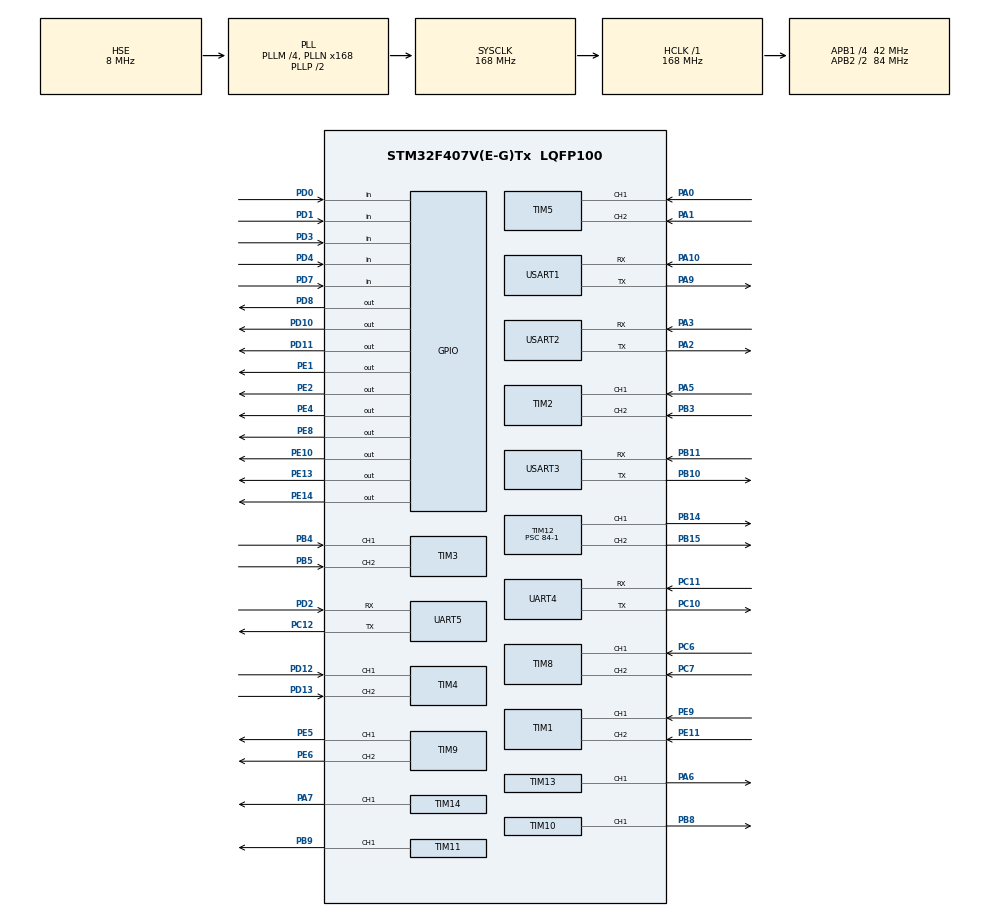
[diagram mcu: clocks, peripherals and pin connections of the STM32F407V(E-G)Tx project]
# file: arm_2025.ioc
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Dma.Request0=USART1_RX
Dma.Request1=USART1_TX
Dma.USART1_RX.0.Direction=DMA_PERIPH_TO_MEMORY
Dma.USART1_RX.0.FIFOMode=DMA_FIFOMODE_DISABLE
Dma.USART1_RX.0.Instance=DMA2_Stream2
Dma.USART1_RX.0.MemDataAlignment=DMA_MDATAALIGN_BYTE
Dma.USART1_RX.0.MemInc=DMA_MINC_ENABLE
Dma.USART1_RX.0.Mode=DMA_NORMAL
Dma.USART1_RX.0.PeriphDataAlignment=DMA_PDATAALIGN_BYTE
Dma.USART1_RX.0.PeriphInc=DMA_PINC_DISABLE
Dma.USART1_RX.0.Priority=DMA_PRIORITY_LOW
Dma.USART1_TX.1.Direction=DMA_MEMORY_TO_PERIPH
Dma.USART1_TX.1.FIFOMode=DMA_FIFOMODE_DISABLE
Dma.USART1_TX.1.Instance=DMA2_Stream7
Dma.USART1_TX.1.MemDataAlignment=DMA_MDATAALIGN_BYTE
Dma.USART1_TX.1.MemInc=DMA_MINC_ENABLE
Dma.USART1_TX.1.Mode=DMA_NORMAL
Dma.USART1_TX.1.PeriphDataAlignment=DMA_PDATAALIGN_BYTE
Dma.USART1_TX.1.PeriphInc=DMA_PINC_DISABLE
Dma.USART1_TX.1.Priority=DMA_PRIORITY_LOW
Mcu.Family=STM32F4
Mcu.Name=STM32F407V(E-G)Tx
Mcu.Package=LQFP100
NVIC.DMA2_Stream2_IRQn=true\:0\:0\:false\:false\:true\:false\:true\:true
NVIC.DMA2_Stream7_IRQn=true\:0\:0\:false\:false\:true\:false\:true\:true
NVIC.PriorityGroup=NVIC_PRIORITYGROUP_4
NVIC.RCC_IRQn=true\:0\:0\:false\:false\:true\:true\:false\:true
NVIC.TIM6_DAC_IRQn=true\:0\:0\:false\:false\:true\:true\:true\:true
NVIC.USART1_IRQn=true\:0\:0\:false\:false\:true\:true\:true\:true
PA0-WKUP.Signal=S_TIM5_CH1
PA1.Signal=S_TIM5_CH2
PA10.Mode=Asynchronous
PA10.Signal=USART1_RX
PA13.Mode=Serial_Wire
PA13.Signal=SYS_JTMS-SWDIO
PA14.Mode=Serial_Wire
PA14.Signal=SYS_JTCK-SWCLK
PA2.Mode=Asynchronous
PA2.Signal=USART2_TX
PA3.Mode=Asynchronous
PA3.Signal=USART2_RX
PA5.Signal=S_TIM2_CH1_ETR
PA6.Signal=S_TIM13_CH1
PA7.Signal=S_TIM14_CH1
PA9.Mode=Asynchronous
PA9.Signal=USART1_TX
PB10.Mode=Asynchronous
PB10.Signal=USART3_TX
PB11.Mode=Asynchronous
PB11.Signal=USART3_RX
PB14.Signal=S_TIM12_CH1
PB15.Signal=S_TIM12_CH2
PB3.Signal=S_TIM2_CH2
PB4.Signal=S_TIM3_CH1
PB5.Signal=S_TIM3_CH2
PB8.Signal=S_TIM10_CH1
PB9.Signal=S_TIM11_CH1
PC10.Mode=Asynchronous
PC10.Signal=UART4_TX
PC11.Mode=Asynchronous
PC11.Signal=UART4_RX
PC12.Mode=Asynchronous
PC12.Signal=UART5_TX
PC6.Signal=S_TIM8_CH1
PC7.Signal=S_TIM8_CH2
PD0.GPIO_PuPd=GPIO_PULLUP
PD0.Signal=GPIO_Input
PD1.GPIO_PuPd=GPIO_PULLUP
PD1.Signal=GPIO_Input
PD10.Signal=GPIO_Output
PD11.Signal=GPIO_Output
PD12.Signal=S_TIM4_CH1
PD13.Signal=S_TIM4_CH2
PD2.Mode=Asynchronous
PD2.Signal=UART5_RX
PD3.GPIO_PuPd=GPIO_PULLUP
PD3.Signal=GPIO_Input
PD4.GPIO_PuPd=GPIO_PULLUP
PD4.Signal=GPIO_Input
PD7.GPIO_PuPd=GPIO_PULLUP
PD7.Signal=GPIO_Input
PD8.Signal=GPIO_Output
PE1.Signal=GPIO_Output
PE10.Signal=GPIO_Output
PE11.Signal=S_TIM1_CH2
PE13.Signal=GPIO_Output
PE14.Signal=GPIO_Output
PE2.Signal=GPIO_Output
PE4.Signal=GPIO_Output
PE5.Signal=S_TIM9_CH1
PE6.Signal=S_TIM9_CH2
PE8.Signal=GPIO_Output
PE9.Signal=S_TIM1_CH1
PH0-OSC_IN.Mode=HSE-External-Oscillator
PH0-OSC_IN.Signal=RCC_OSC_IN
PH1-OSC_OUT.Mode=HSE-External-Oscillator
PH1-OSC_OUT.Signal=RCC_OSC_OUT
ProjectManager.HeapSize=0x200
ProjectManager.StackSize=0x400
ProjectManager.TargetToolchain=STM32CubeIDE
RCC.48MHZClocksFreq_Value=84000000
RCC.AHBFreq_Value=168000000
RCC.APB1CLKDivider=RCC_HCLK_DIV4
RCC.APB1Freq_Value=42000000
RCC.APB1TimFreq_Value=84000000
RCC.APB2CLKDivider=RCC_HCLK_DIV2
RCC.APB2Freq_Value=84000000
RCC.APB2TimFreq_Value=168000000
RCC.CortexFreq_Value=168000000
RCC.HCLKFreq_Value=168000000
RCC.HSE_VALUE=8000000
RCC.HSI_VALUE=16000000
RCC.LSE_VALUE=32768
RCC.PLLM=4
RCC.PLLN=168
RCC.PLLSourceVirtual=RCC_PLLSOURCE_HSE
RCC.SYSCLKFreq_VALUE=168000000
RCC.SYSCLKSource=RCC_SYSCLKSOURCE_PLLCLK
RCC.VCOOutputFreq_Value=336000000
SH.S_TIM10_CH1.0=TIM10_CH1,PWM Generation1 CH1
SH.S_TIM11_CH1.0=TIM11_CH1,PWM Generation1 CH1
SH.S_TIM12_CH1.0=TIM12_CH1,PWM Generation1 CH1
SH.S_TIM12_CH2.0=TIM12_CH2,PWM Generation2 CH2
SH.S_TIM13_CH1.0=TIM13_CH1,PWM Generation1 CH1
SH.S_TIM14_CH1.0=TIM14_CH1,PWM Generation1 CH1
SH.S_TIM1_CH1.0=TIM1_CH1,Encoder_Interface
SH.S_TIM1_CH2.0=TIM1_CH2,Encoder_Interface
SH.S_TIM2_CH1_ETR.0=TIM2_CH1,Encoder_Interface
SH.S_TIM2_CH2.0=TIM2_CH2,Encoder_Interface
SH.S_TIM3_CH1.0=TIM3_CH1,Encoder_Interface
SH.S_TIM3_CH2.0=TIM3_CH2,Encoder_Interface
SH.S_TIM4_CH1.0=TIM4_CH1,Encoder_Interface
SH.S_TIM4_CH2.0=TIM4_CH2,Encoder_Interface
SH.S_TIM5_CH1.0=TIM5_CH1,Encoder_Interface
SH.S_TIM5_CH2.0=TIM5_CH2,Encoder_Interface
SH.S_TIM8_CH1.0=TIM8_CH1,Encoder_Interface
SH.S_TIM8_CH2.0=TIM8_CH2,Encoder_Interface
SH.S_TIM9_CH1.0=TIM9_CH1,PWM Generation1 CH1
SH.S_TIM9_CH2.0=TIM9_CH2,PWM Generation2 CH2
TIM10.Channel=TIM_CHANNEL_1
TIM11.Channel=TIM_CHANNEL_1
TIM12.Channel-PWM\ Generation1\ CH1=TIM_CHANNEL_1
TIM12.Channel-PWM\ Generation2\ CH2=TIM_CHANNEL_2
TIM12.Period=1000-1
TIM12.Prescaler=84-1
TIM13.Channel=TIM_CHANNEL_1
TIM13.Period=1000-1
TIM13.Prescaler=84-1
TIM14.Channel=TIM_CHANNEL_1
TIM14.Period=1000-1
TIM14.Prescaler=84-1
TIM6.Period=1000-1
TIM6.Prescaler=84-1
TIM9.Channel-PWM\ Generation1\ CH1=TIM_CHANNEL_1
TIM9.Channel-PWM\ Generation2\ CH2=TIM_CHANNEL_2
UART4.VirtualMode=Asynchronous
UART5.VirtualMode=Asynchronous
USART1.VirtualMode=VM_ASYNC
USART2.VirtualMode=VM_ASYNC
USART3.VirtualMode=VM_ASYNC
VP_TIM10_VS_ClockSourceINT.Mode=Enable_Timer
VP_TIM11_VS_ClockSourceINT.Mode=Enable_Timer
VP_TIM13_VS_ClockSourceINT.Mode=Enable_Timer
VP_TIM14_VS_ClockSourceINT.Mode=Enable_Timer
VP_TIM6_VS_ClockSourceINT.Mode=Enable_Timer
board=custom

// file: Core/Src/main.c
/* USER CODE BEGIN Header */
/**
  ******************************************************************************
  * @file           : main.c
  * @brief          : Main program body
  ******************************************************************************
  * @attention
  *
  * Copyright (c) 2025 STMicroelectronics.
  * All rights reserved.
  *
  * This software is licensed under terms that can be found in the LICENSE file
  * in the root directory of this software component.
  * If no LICENSE file comes with this software, it is provided AS-IS.
  *
  ******************************************************************************
  */
/* USER CODE END Header */
#include "main.h"

/* USER CODE BEGIN Includes */
#include <stdio.h>
#include <stdlib.h>
#include <string.h>
#include <math.h>

#include "pid.h"
/* USER CODE END Includes */

TIM_HandleTypeDef htim1;
TIM_HandleTypeDef htim2;
TIM_HandleTypeDef htim3;
TIM_HandleTypeDef htim4;
TIM_HandleTypeDef htim5;
TIM_HandleTypeDef htim6;
TIM_HandleTypeDef htim8;
TIM_HandleTypeDef htim9;
TIM_HandleTypeDef htim10;
TIM_HandleTypeDef htim11;
TIM_HandleTypeDef htim12;
TIM_HandleTypeDef htim13;
TIM_HandleTypeDef htim14;

UART_HandleTypeDef huart4;
UART_HandleTypeDef huart5;
UART_HandleTypeDef huart1;
UART_HandleTypeDef huart2;
UART_HandleTypeDef huart3;
DMA_HandleTypeDef hdma_usart1_rx;
DMA_HandleTypeDef hdma_usart1_tx;

void SystemClock_Config(void);
static void MX_GPIO_Init(void);
static void MX_DMA_Init(void);
static void MX_TIM1_Init(void);
static void MX_TIM2_Init(void);
static void MX_TIM3_Init(void);
static void MX_TIM4_Init(void);
static void MX_TIM5_Init(void);
static void MX_TIM8_Init(void);
static void MX_TIM9_Init(void);
static void MX_TIM10_Init(void);
static void MX_TIM11_Init(void);
static void MX_TIM12_Init(void);
static void MX_TIM13_Init(void);
static void MX_TIM14_Init(void);
static void MX_UART4_Init(void);
static void MX_UART5_Init(void);
static void MX_USART1_UART_Init(void);
static void MX_USART2_UART_Init(void);
static void MX_USART3_UART_Init(void);
static void MX_TIM6_Init(void);

/* USER CODE BEGIN 0 */
#define MAX_HORIZONTAL_HOME_SPEED 	-350
#define MAX_VERTICAL_HOME_SPEED 	-100

#define MAX_VERTICAL_PULSE 			2592
#define MAX_HORIZONTAL_PULSE		2250
#define MAX_ROTATION_PULSE			1840

#define MAX_VERTICAL_PID_SPEED		999
#define MAX_HORIZONTAL_PID_SPEED	999
#define MAX_ROTATION_PID_SPEED		999

int16_t rst_cnt = 0;
uint8_t rst_state = 0;

int16_t TIM6_CNT_MS = 0;
int16_t enc1_cnt = 0;
int16_t enc2_cnt = 0;
int16_t enc3_cnt = 0;
int16_t enc4_cnt = 0;
int16_t enc5_cnt = 0;
int16_t enc6_cnt = 0;

uint8_t arm_state = 0;
uint8_t arm_pos = 0;
uint16_t arm_cnt_ms = 0;

PID_t pid_rotation = {0};
PID_t pid_horizontal = {0};
PID_t pid_vertical = {0};

char UART1_RX_BUFFER[53];
uint8_t robot_start = 0;
uint8_t robot_reset = 0;
uint8_t relay_state = 1; //--- 1 is OFF, 0 is ON
int16_t setpoint_rotation = 0;
int16_t setpoint_horizontal = 0;
int16_t setpoint_vertical = 0;

char UART1_TX_BUFFER[53] = "ABC";
//--- PULL UP
uint8_t LIM_SW2_STAT = 1;
uint8_t LIM_SW3_STAT = 1;
uint8_t button1_state = 1, button2_state = 1;

void setMotor(uint8_t motor, int16_t speed)
{
	uint8_t dir_a = (speed >= 0);
	uint8_t dir_b = (speed < 0);
	speed = abs(speed);

	switch(motor)
	{
		case 1:
			HAL_GPIO_WritePin(GPIOE, GPIO_PIN_10, dir_a);
			HAL_GPIO_WritePin(GPIOE, GPIO_PIN_8 , dir_b);
			TIM13 -> CCR1 = speed;
			break;
		case 2:
			HAL_GPIO_WritePin(GPIOD, GPIO_PIN_11, dir_a);
			HAL_GPIO_WritePin(GPIOE, GPIO_PIN_14, dir_b);
			TIM12 -> CCR2 = speed;
			break;
		case 3:
			HAL_GPIO_WritePin(GPIOD, GPIO_PIN_10, dir_a);
			HAL_GPIO_WritePin(GPIOD, GPIO_PIN_8 , dir_b);
			TIM12 -> CCR1 = speed;
			break;
		case 4:
			HAL_GPIO_WritePin(GPIOE, GPIO_PIN_2 , dir_a);
			HAL_GPIO_WritePin(GPIOE, GPIO_PIN_4 , dir_b);
			TIM14 -> CCR1 = speed;
			break;
		default:
			break;
	}
}

uint8_t arm_init()
{
	if(LIM_SW2_STAT == 1)
	{
		setMotor(2, MAX_HORIZONTAL_HOME_SPEED); //--- go back
	}
	else
	{
		setMotor(2, 0);
	}

	if(LIM_SW2_STAT == 0 && LIM_SW3_STAT == 1)
	{
		setMotor(3, MAX_VERTICAL_HOME_SPEED); //--- go down
	}
	else
	{
		setMotor(3, 0);
	}

	if(LIM_SW2_STAT == 0 && LIM_SW3_STAT == 0)
	{
		return 1; //--- Homing Success
	}
	else
	{
		return 0; //--- Homing Failed
	}
}

void transmit_uart()
{
	memcpy(UART1_TX_BUFFER + 3, &button1_state, 1);
	memcpy(UART1_TX_BUFFER + 4, &button2_state, 1);
	memcpy(UART1_TX_BUFFER + 5, &LIM_SW2_STAT, 1);
	memcpy(UART1_TX_BUFFER + 6, &LIM_SW3_STAT, 1);
	memcpy(UART1_TX_BUFFER + 7, &enc1_cnt, 2);
	memcpy(UART1_TX_BUFFER + 9, &enc2_cnt, 2);
	memcpy(UART1_TX_BUFFER + 11, &enc3_cnt, 2);

	HAL_UART_Transmit_DMA(&huart1, (uint8_t*)UART1_TX_BUFFER, sizeof(UART1_TX_BUFFER));
}

void led_blink()
{
	static uint16_t timer = 0;
	static uint8_t state = 0;

	if(timer >= 99)
	{
		state = !(state);
		HAL_GPIO_WritePin(GPIOE, GPIO_PIN_1, state);
		timer = 0;
	}

	timer++;
}

void read_limit_switch()
{
	LIM_SW2_STAT = HAL_GPIO_ReadPin(GPIOD, GPIO_PIN_1);
	LIM_SW3_STAT = HAL_GPIO_ReadPin(GPIOD, GPIO_PIN_3);
}

void read_button()
{
	button1_state = HAL_GPIO_ReadPin(GPIOD, GPIO_PIN_4);
	button2_state = HAL_GPIO_ReadPin(GPIOD, GPIO_PIN_7);
}

void write_relay(uint8_t state)
{
	if(state == 0) //--- ON STATE
	{
		HAL_GPIO_WritePin(GPIOE, GPIO_PIN_13, 1);
	}
	else //--- OFF STATE
	{
		HAL_GPIO_WritePin(GPIOE, GPIO_PIN_13, 0);
	}
}

void arm_state_machine()
{
	switch(arm_state)
	{
		case 0: //--- Arm homing position
			if(arm_init())
			{
				arm_state++;
			}
			break;

		case 1: //--- Wait for motors to settle, then reset encoders
			if(arm_cnt_ms >= 1250)
			{

			  TIM1 -> CNT = TIM2 -> CNT = TIM3 -> CNT = 0;
			  arm_state++;
			}
			arm_cnt_ms++;

			break;

		case 2: //--- Main PID speed loop (every 10 ms)
			if(arm_cnt_ms >= 9)
			{
				enc1_cnt = -TIM1 -> CNT;
				enc2_cnt = -TIM2 -> CNT;
				enc3_cnt = -TIM3 -> CNT;

				TIM1 -> CNT = TIM2 -> CNT = TIM3 -> CNT = 0;

				PID_Update(&pid_rotation, setpoint_rotation, enc1_cnt, MAX_ROTATION_PID_SPEED);
				PID_Update(&pid_horizontal, setpoint_horizontal, enc2_cnt, MAX_HORIZONTAL_PID_SPEED);
				PID_Update(&pid_vertical, setpoint_vertical, enc3_cnt, MAX_VERTICAL_PID_SPEED);

				setMotor(1, (int16_t)pid_rotation.output);
				setMotor(2, (int16_t)pid_horizontal.output);
				setMotor(3, (int16_t)pid_vertical.output);

				arm_cnt_ms = 0;
			}
			arm_cnt_ms++;

			break;

		default:
			break;
	}
}

void HAL_TIM_PeriodElapsedCallback(TIM_HandleTypeDef *htim)
{
	if(htim == &htim6)
	{
		if(rst_state)
		{
			if(rst_cnt >= 500)
			{
				NVIC_SystemReset();
			}
			else
			{
				rst_cnt++;
			}
		}

		led_blink();

		transmit_uart();

		read_limit_switch();

		read_button();

		write_relay(relay_state);

		arm_state_machine();
	}
}

void HAL_UART_RxCpltCallback(UART_HandleTypeDef *huart)
{
	if(huart == &huart1) //--- VGT BASE
	{
		if(UART1_RX_BUFFER[0] == 'A' && UART1_RX_BUFFER[1] == 'B' && UART1_RX_BUFFER[2] == 'C')
		{
			memcpy(&robot_start, UART1_RX_BUFFER + 3, 1);
			memcpy(&robot_reset, UART1_RX_BUFFER + 4, 1);
			memcpy(&relay_state, UART1_RX_BUFFER + 5, 1);
			memcpy(&setpoint_rotation, UART1_RX_BUFFER + 6, 2);
			memcpy(&setpoint_horizontal, UART1_RX_BUFFER + 8, 2);
			memcpy(&setpoint_vertical, UART1_RX_BUFFER + 10, 2);

			if(robot_reset == 1)
			{
				rst_state = 1;
			}
		}
		HAL_UART_Receive_DMA(&huart1, (uint8_t*)UART1_RX_BUFFER, sizeof(UART1_RX_BUFFER));
	}
}

void HAL_UART_RxHalfCpltCallback(UART_HandleTypeDef *huart)
{
	if(huart == &huart1) //--- VGT BASE
	{
		if(!(UART1_RX_BUFFER[0] == 'A' && UART1_RX_BUFFER[1] == 'B' && UART1_RX_BUFFER[2] == 'C'))
		{
			HAL_UART_AbortReceive(&huart1);
			HAL_UART_Receive_DMA(&huart1, (uint8_t*)UART1_RX_BUFFER, sizeof(UART1_RX_BUFFER));
		}
	}

}

void HAL_UART_ErrorCallback(UART_HandleTypeDef *huart)
{
	if(huart == &huart1) //--- VGT BASE
	{
		HAL_UART_AbortReceive(&huart1);
		HAL_UART_Receive_DMA(&huart1, (uint8_t*)UART1_RX_BUFFER, sizeof(UART1_RX_BUFFER));
	}
}

/* USER CODE END 0 */

int main(void)
{

  /* MCU Configuration--------------------------------------------------------*/

  /* Reset of all peripherals, Initializes the Flash interface and the Systick. */
  HAL_Init();

  /* Configure the system clock */
  SystemClock_Config();

  /* Initialize all configured peripherals */
  MX_GPIO_Init();
  MX_DMA_Init();
  MX_TIM1_Init();
  MX_TIM2_Init();
  MX_TIM3_Init();
  MX_TIM4_Init();
  MX_TIM5_Init();
  MX_TIM8_Init();
  MX_TIM9_Init();
  MX_TIM10_Init();
  MX_TIM11_Init();
  MX_TIM12_Init();
  MX_TIM13_Init();
  MX_TIM14_Init();
  MX_UART4_Init();
  MX_UART5_Init();
  MX_USART1_UART_Init();
  MX_USART2_UART_Init();
  MX_USART3_UART_Init();
  MX_TIM6_Init();
  /* USER CODE BEGIN 2 */
  HAL_TIM_Encoder_Start(&htim1, TIM_CHANNEL_ALL);
  HAL_TIM_Encoder_Start(&htim2, TIM_CHANNEL_ALL);
  HAL_TIM_Encoder_Start(&htim3, TIM_CHANNEL_ALL);
  HAL_TIM_Encoder_Start(&htim4, TIM_CHANNEL_ALL);
  HAL_TIM_Encoder_Start(&htim5, TIM_CHANNEL_ALL);
  HAL_TIM_Encoder_Start(&htim8, TIM_CHANNEL_ALL);

  HAL_TIM_PWM_Start(&htim12, TIM_CHANNEL_1);
  HAL_TIM_PWM_Start(&htim12, TIM_CHANNEL_2);
  HAL_TIM_PWM_Start(&htim13, TIM_CHANNEL_1);
  HAL_TIM_PWM_Start(&htim14, TIM_CHANNEL_1);

  float kp = 40, ki = 3, kd = 0;

  PID_Init(&pid_rotation, kp, ki, kd);
  PID_Init(&pid_horizontal, kp, ki, kd);
  PID_Init(&pid_vertical, kp, ki, kd);

  HAL_UART_Receive_DMA(&huart1, (uint8_t*)UART1_RX_BUFFER, sizeof(UART1_RX_BUFFER));

  HAL_TIM_Base_Start_IT(&htim6);
  /* USER CODE END 2 */

  /* Infinite loop */
  while (1)
  {

  }
}

void SystemClock_Config(void)
{
  RCC_OscInitTypeDef RCC_OscInitStruct = {0};
  RCC_ClkInitTypeDef RCC_ClkInitStruct = {0};

  /** Configure the main internal regulator output voltage
  */
  __HAL_RCC_PWR_CLK_ENABLE();
  __HAL_PWR_VOLTAGESCALING_CONFIG(PWR_REGULATOR_VOLTAGE_SCALE1);

  /** Initializes the RCC Oscillators according to the specified parameters
  * in the RCC_OscInitTypeDef structure.
  */
  RCC_OscInitStruct.OscillatorType = RCC_OSCILLATORTYPE_HSE;
  RCC_OscInitStruct.HSEState = RCC_HSE_ON;
  RCC_OscInitStruct.PLL.PLLState = RCC_PLL_ON;
  RCC_OscInitStruct.PLL.PLLSource = RCC_PLLSOURCE_HSE;
  RCC_OscInitStruct.PLL.PLLM = 4;
  RCC_OscInitStruct.PLL.PLLN = 168;
  RCC_OscInitStruct.PLL.PLLP = RCC_PLLP_DIV2;
  RCC_OscInitStruct.PLL.PLLQ = 4;
  if (HAL_RCC_OscConfig(&RCC_OscInitStruct) != HAL_OK)
  {
    Error_Handler();
  }

  /** Initializes the CPU, AHB and APB buses clocks
  */
  RCC_ClkInitStruct.ClockType = RCC_CLOCKTYPE_HCLK|RCC_CLOCKTYPE_SYSCLK
                              |RCC_CLOCKTYPE_PCLK1|RCC_CLOCKTYPE_PCLK2;
  RCC_ClkInitStruct.SYSCLKSource = RCC_SYSCLKSOURCE_PLLCLK;
  RCC_ClkInitStruct.AHBCLKDivider = RCC_SYSCLK_DIV1;
  RCC_ClkInitStruct.APB1CLKDivider = RCC_HCLK_DIV4;
  RCC_ClkInitStruct.APB2CLKDivider = RCC_HCLK_DIV2;

  if (HAL_RCC_ClockConfig(&RCC_ClkInitStruct, FLASH_LATENCY_5) != HAL_OK)
  {
    Error_Handler();
  }
}

static void MX_TIM1_Init(void)
{

  TIM_Encoder_InitTypeDef sConfig = {0};
  TIM_MasterConfigTypeDef sMasterConfig = {0};

  htim1.Instance = TIM1;
  htim1.Init.Prescaler = 0;
  htim1.Init.CounterMode = TIM_COUNTERMODE_UP;
  htim1.Init.Period = 65535;
  htim1.Init.ClockDivision = TIM_CLOCKDIVISION_DIV1;
  htim1.Init.RepetitionCounter = 0;
  htim1.Init.AutoReloadPreload = TIM_AUTORELOAD_PRELOAD_DISABLE;
  sConfig.EncoderMode = TIM_ENCODERMODE_TI1;
  sConfig.IC1Polarity = TIM_ICPOLARITY_RISING;
  sConfig.IC1Selection = TIM_ICSELECTION_DIRECTTI;
  sConfig.IC1Prescaler = TIM_ICPSC_DIV1;
  sConfig.IC1Filter = 0;
  sConfig.IC2Polarity = TIM_ICPOLARITY_RISING;
  sConfig.IC2Selection = TIM_ICSELECTION_DIRECTTI;
  sConfig.IC2Prescaler = TIM_ICPSC_DIV1;
  sConfig.IC2Filter = 0;
  if (HAL_TIM_Encoder_Init(&htim1, &sConfig) != HAL_OK)
  {
    Error_Handler();
  }
  sMasterConfig.MasterOutputTrigger = TIM_TRGO_RESET;
  sMasterConfig.MasterSlaveMode = TIM_MASTERSLAVEMODE_DISABLE;
  if (HAL_TIMEx_MasterConfigSynchronization(&htim1, &sMasterConfig) != HAL_OK)
  {
    Error_Handler();
  }

}

static void MX_TIM2_Init(void)
{

  TIM_Encoder_InitTypeDef sConfig = {0};
  TIM_MasterConfigTypeDef sMasterConfig = {0};

  htim2.Instance = TIM2;
  htim2.Init.Prescaler = 0;
  htim2.Init.CounterMode = TIM_COUNTERMODE_UP;
  htim2.Init.Period = 4294967295;
  htim2.Init.ClockDivision = TIM_CLOCKDIVISION_DIV1;
  htim2.Init.AutoReloadPreload = TIM_AUTORELOAD_PRELOAD_DISABLE;
  sConfig.EncoderMode = TIM_ENCODERMODE_TI1;
  sConfig.IC1Polarity = TIM_ICPOLARITY_RISING;
  sConfig.IC1Selection = TIM_ICSELECTION_DIRECTTI;
  sConfig.IC1Prescaler = TIM_ICPSC_DIV1;
  sConfig.IC1Filter = 0;
  sConfig.IC2Polarity = TIM_ICPOLARITY_RISING;
  sConfig.IC2Selection = TIM_ICSELECTION_DIRECTTI;
  sConfig.IC2Prescaler = TIM_ICPSC_DIV1;
  sConfig.IC2Filter = 0;
  if (HAL_TIM_Encoder_Init(&htim2, &sConfig) != HAL_OK)
  {
    Error_Handler();
  }
  sMasterConfig.MasterOutputTrigger = TIM_TRGO_RESET;
  sMasterConfig.MasterSlaveMode = TIM_MASTERSLAVEMODE_DISABLE;
  if (HAL_TIMEx_MasterConfigSynchronization(&htim2, &sMasterConfig) != HAL_OK)
  {
    Error_Handler();
  }

}

static void MX_TIM3_Init(void)
{

  TIM_Encoder_InitTypeDef sConfig = {0};
  TIM_MasterConfigTypeDef sMasterConfig = {0};

  htim3.Instance = TIM3;
  htim3.Init.Prescaler = 0;
  htim3.Init.CounterMode = TIM_COUNTERMODE_UP;
  htim3.Init.Period = 65535;
  htim3.Init.ClockDivision = TIM_CLOCKDIVISION_DIV1;
  htim3.Init.AutoReloadPreload = TIM_AUTORELOAD_PRELOAD_DISABLE;
  sConfig.EncoderMode = TIM_ENCODERMODE_TI1;
  sConfig.IC1Polarity = TIM_ICPOLARITY_RISING;
  sConfig.IC1Selection = TIM_ICSELECTION_DIRECTTI;
  sConfig.IC1Prescaler = TIM_ICPSC_DIV1;
  sConfig.IC1Filter = 0;
  sConfig.IC2Polarity = TIM_ICPOLARITY_RISING;
  sConfig.IC2Selection = TIM_ICSELECTION_DIRECTTI;
  sConfig.IC2Prescaler = TIM_ICPSC_DIV1;
  sConfig.IC2Filter = 0;
  if (HAL_TIM_Encoder_Init(&htim3, &sConfig) != HAL_OK)
  {
    Error_Handler();
  }
  sMasterConfig.MasterOutputTrigger = TIM_TRGO_RESET;
  sMasterConfig.MasterSlaveMode = TIM_MASTERSLAVEMODE_DISABLE;
  if (HAL_TIMEx_MasterConfigSynchronization(&htim3, &sMasterConfig) != HAL_OK)
  {
    Error_Handler();
  }

}

static void MX_TIM4_Init(void)
{

  TIM_Encoder_InitTypeDef sConfig = {0};
  TIM_MasterConfigTypeDef sMasterConfig = {0};

  htim4.Instance = TIM4;
  htim4.Init.Prescaler = 0;
  htim4.Init.CounterMode = TIM_COUNTERMODE_UP;
  htim4.Init.Period = 65535;
  htim4.Init.ClockDivision = TIM_CLOCKDIVISION_DIV1;
  htim4.Init.AutoReloadPreload = TIM_AUTORELOAD_PRELOAD_DISABLE;
  sConfig.EncoderMode = TIM_ENCODERMODE_TI1;
  sConfig.IC1Polarity = TIM_ICPOLARITY_RISING;
  sConfig.IC1Selection = TIM_ICSELECTION_DIRECTTI;
  sConfig.IC1Prescaler = TIM_ICPSC_DIV1;
  sConfig.IC1Filter = 0;
  sConfig.IC2Polarity = TIM_ICPOLARITY_RISING;
  sConfig.IC2Selection = TIM_ICSELECTION_DIRECTTI;
  sConfig.IC2Prescaler = TIM_ICPSC_DIV1;
  sConfig.IC2Filter = 0;
  if (HAL_TIM_Encoder_Init(&htim4, &sConfig) != HAL_OK)
  {
    Error_Handler();
  }
  sMasterConfig.MasterOutputTrigger = TIM_TRGO_RESET;
  sMasterConfig.MasterSlaveMode = TIM_MASTERSLAVEMODE_DISABLE;
  if (HAL_TIMEx_MasterConfigSynchronization(&htim4, &sMasterConfig) != HAL_OK)
  {
    Error_Handler();
  }

}

static void MX_TIM5_Init(void)
{

  TIM_Encoder_InitTypeDef sConfig = {0};
  TIM_MasterConfigTypeDef sMasterConfig = {0};

  htim5.Instance = TIM5;
  htim5.Init.Prescaler = 0;
  htim5.Init.CounterMode = TIM_COUNTERMODE_UP;
  htim5.Init.Period = 4294967295;
  htim5.Init.ClockDivision = TIM_CLOCKDIVISION_DIV1;
  htim5.Init.AutoReloadPreload = TIM_AUTORELOAD_PRELOAD_DISABLE;
  sConfig.EncoderMode = TIM_ENCODERMODE_TI1;
  sConfig.IC1Polarity = TIM_ICPOLARITY_RISING;
  sConfig.IC1Selection = TIM_ICSELECTION_DIRECTTI;
  sConfig.IC1Prescaler = TIM_ICPSC_DIV1;
  sConfig.IC1Filter = 0;
  sConfig.IC2Polarity = TIM_ICPOLARITY_RISING;
  sConfig.IC2Selection = TIM_ICSELECTION_DIRECTTI;
  sConfig.IC2Prescaler = TIM_ICPSC_DIV1;
  sConfig.IC2Filter = 0;
  if (HAL_TIM_Encoder_Init(&htim5, &sConfig) != HAL_OK)
  {
    Error_Handler();
  }
  sMasterConfig.MasterOutputTrigger = TIM_TRGO_RESET;
  sMasterConfig.MasterSlaveMode = TIM_MASTERSLAVEMODE_DISABLE;
  if (HAL_TIMEx_MasterConfigSynchronization(&htim5, &sMasterConfig) != HAL_OK)
  {
    Error_Handler();
  }

}

static void MX_TIM6_Init(void)
{

  TIM_MasterConfigTypeDef sMasterConfig = {0};

  htim6.Instance = TIM6;
  htim6.Init.Prescaler = 84-1;
  htim6.Init.CounterMode = TIM_COUNTERMODE_UP;
  htim6.Init.Period = 1000-1;
  htim6.Init.AutoReloadPreload = TIM_AUTORELOAD_PRELOAD_DISABLE;
  if (HAL_TIM_Base_Init(&htim6) != HAL_OK)
  {
    Error_Handler();
  }
  sMasterConfig.MasterOutputTrigger = TIM_TRGO_RESET;
  sMasterConfig.MasterSlaveMode = TIM_MASTERSLAVEMODE_DISABLE;
  if (HAL_TIMEx_MasterConfigSynchronization(&htim6, &sMasterConfig) != HAL_OK)
  {
    Error_Handler();
  }

}

static void MX_TIM8_Init(void)
{

  TIM_Encoder_InitTypeDef sConfig = {0};
  TIM_MasterConfigTypeDef sMasterConfig = {0};

  htim8.Instance = TIM8;
  htim8.Init.Prescaler = 0;
  htim8.Init.CounterMode = TIM_COUNTERMODE_UP;
  htim8.Init.Period = 65535;
  htim8.Init.ClockDivision = TIM_CLOCKDIVISION_DIV1;
  htim8.Init.RepetitionCounter = 0;
  htim8.Init.AutoReloadPreload = TIM_AUTORELOAD_PRELOAD_DISABLE;
  sConfig.EncoderMode = TIM_ENCODERMODE_TI1;
  sConfig.IC1Polarity = TIM_ICPOLARITY_RISING;
  sConfig.IC1Selection = TIM_ICSELECTION_DIRECTTI;
  sConfig.IC1Prescaler = TIM_ICPSC_DIV1;
  sConfig.IC1Filter = 0;
  sConfig.IC2Polarity = TIM_ICPOLARITY_RISING;
  sConfig.IC2Selection = TIM_ICSELECTION_DIRECTTI;
  sConfig.IC2Prescaler = TIM_ICPSC_DIV1;
  sConfig.IC2Filter = 0;
  if (HAL_TIM_Encoder_Init(&htim8, &sConfig) != HAL_OK)
  {
    Error_Handler();
  }
  sMasterConfig.MasterOutputTrigger = TIM_TRGO_RESET;
  sMasterConfig.MasterSlaveMode = TIM_MASTERSLAVEMODE_DISABLE;
  if (HAL_TIMEx_MasterConfigSynchronization(&htim8, &sMasterConfig) != HAL_OK)
  {
    Error_Handler();
  }

}

static void MX_TIM9_Init(void)
{

  TIM_OC_InitTypeDef sConfigOC = {0};

  htim9.Instance = TIM9;
  htim9.Init.Prescaler = 0;
  htim9.Init.CounterMode = TIM_COUNTERMODE_UP;
  htim9.Init.Period = 65535;
  htim9.Init.ClockDivision = TIM_CLOCKDIVISION_DIV1;
  htim9.Init.AutoReloadPreload = TIM_AUTORELOAD_PRELOAD_DISABLE;
  if (HAL_TIM_PWM_Init(&htim9) != HAL_OK)
  {
    Error_Handler();
  }
  sConfigOC.OCMode = TIM_OCMODE_PWM1;
  sConfigOC.Pulse = 0;
  sConfigOC.OCPolarity = TIM_OCPOLARITY_HIGH;
  sConfigOC.OCFastMode = TIM_OCFAST_DISABLE;
  if (HAL_TIM_PWM_ConfigChannel(&htim9, &sConfigOC, TIM_CHANNEL_1) != HAL_OK)
  {
    Error_Handler();
  }
  if (HAL_TIM_PWM_ConfigChannel(&htim9, &sConfigOC, TIM_CHANNEL_2) != HAL_OK)
  {
    Error_Handler();
  }
  HAL_TIM_MspPostInit(&htim9);

}

static void MX_TIM10_Init(void)
{

  TIM_OC_InitTypeDef sConfigOC = {0};

  htim10.Instance = TIM10;
  htim10.Init.Prescaler = 0;
  htim10.Init.CounterMode = TIM_COUNTERMODE_UP;
  htim10.Init.Period = 65535;
  htim10.Init.ClockDivision = TIM_CLOCKDIVISION_DIV1;
  htim10.Init.AutoReloadPreload = TIM_AUTORELOAD_PRELOAD_DISABLE;
  if (HAL_TIM_Base_Init(&htim10) != HAL_OK)
  {
    Error_Handler();
  }
  if (HAL_TIM_PWM_Init(&htim10) != HAL_OK)
  {
    Error_Handler();
  }
  sConfigOC.OCMode = TIM_OCMODE_PWM1;
  sConfigOC.Pulse = 0;
  sConfigOC.OCPolarity = TIM_OCPOLARITY_HIGH;
  sConfigOC.OCFastMode = TIM_OCFAST_DISABLE;
  if (HAL_TIM_PWM_ConfigChannel(&htim10, &sConfigOC, TIM_CHANNEL_1) != HAL_OK)
  {
    Error_Handler();
  }
  HAL_TIM_MspPostInit(&htim10);

}

static void MX_TIM11_Init(void)
{

  TIM_OC_InitTypeDef sConfigOC = {0};

  htim11.Instance = TIM11;
  htim11.Init.Prescaler = 0;
  htim11.Init.CounterMode = TIM_COUNTERMODE_UP;
  htim11.Init.Period = 65535;
  htim11.Init.ClockDivision = TIM_CLOCKDIVISION_DIV1;
  htim11.Init.AutoReloadPreload = TIM_AUTORELOAD_PRELOAD_DISABLE;
  if (HAL_TIM_Base_Init(&htim11) != HAL_OK)
  {
    Error_Handler();
  }
  if (HAL_TIM_PWM_Init(&htim11) != HAL_OK)
  {
    Error_Handler();
  }
  sConfigOC.OCMode = TIM_OCMODE_PWM1;
  sConfigOC.Pulse = 0;
  sConfigOC.OCPolarity = TIM_OCPOLARITY_HIGH;
  sConfigOC.OCFastMode = TIM_OCFAST_DISABLE;
  if (HAL_TIM_PWM_ConfigChannel(&htim11, &sConfigOC, TIM_CHANNEL_1) != HAL_OK)
  {
    Error_Handler();
  }
  HAL_TIM_MspPostInit(&htim11);

}

static void MX_TIM12_Init(void)
{

  TIM_OC_InitTypeDef sConfigOC = {0};

  htim12.Instance = TIM12;
  htim12.Init.Prescaler = 84-1;
  htim12.Init.CounterMode = TIM_COUNTERMODE_UP;
  htim12.Init.Period = 1000-1;
  htim12.Init.ClockDivision = TIM_CLOCKDIVISION_DIV1;
  htim12.Init.AutoReloadPreload = TIM_AUTORELOAD_PRELOAD_DISABLE;
  if (HAL_TIM_PWM_Init(&htim12) != HAL_OK)
  {
    Error_Handler();
  }
  sConfigOC.OCMode = TIM_OCMODE_PWM1;
  sConfigOC.Pulse = 0;
  sConfigOC.OCPolarity = TIM_OCPOLARITY_HIGH;
  sConfigOC.OCFastMode = TIM_OCFAST_DISABLE;
  if (HAL_TIM_PWM_ConfigChannel(&htim12, &sConfigOC, TIM_CHANNEL_1) != HAL_OK)
  {
    Error_Handler();
  }
  if (HAL_TIM_PWM_ConfigChannel(&htim12, &sConfigOC, TIM_CHANNEL_2) != HAL_OK)
  {
    Error_Handler();
  }
  HAL_TIM_MspPostInit(&htim12);

}

static void MX_TIM13_Init(void)
{

  TIM_OC_InitTypeDef sConfigOC = {0};

  htim13.Instance = TIM13;
  htim13.Init.Prescaler = 84-1;
  htim13.Init.CounterMode = TIM_COUNTERMODE_UP;
  htim13.Init.Period = 1000-1;
  htim13.Init.ClockDivision = TIM_CLOCKDIVISION_DIV1;
  htim13.Init.AutoReloadPreload = TIM_AUTORELOAD_PRELOAD_DISABLE;
  if (HAL_TIM_Base_Init(&htim13) != HAL_OK)
  {
    Error_Handler();
  }
  if (HAL_TIM_PWM_Init(&htim13) != HAL_OK)
  {
    Error_Handler();
  }
  sConfigOC.OCMode = TIM_OCMODE_PWM1;
  sConfigOC.Pulse = 0;
  sConfigOC.OCPolarity = TIM_OCPOLARITY_HIGH;
  sConfigOC.OCFastMode = TIM_OCFAST_DISABLE;
  if (HAL_TIM_PWM_ConfigChannel(&htim13, &sConfigOC, TIM_CHANNEL_1) != HAL_OK)
  {
    Error_Handler();
  }
  HAL_TIM_MspPostInit(&htim13);

}

static void MX_TIM14_Init(void)
{

  TIM_OC_InitTypeDef sConfigOC = {0};

  htim14.Instance = TIM14;
  htim14.Init.Prescaler = 84-1;
  htim14.Init.CounterMode = TIM_COUNTERMODE_UP;
  htim14.Init.Period = 1000-1;
  htim14.Init.ClockDivision = TIM_CLOCKDIVISION_DIV1;
  htim14.Init.AutoReloadPreload = TIM_AUTORELOAD_PRELOAD_DISABLE;
  if (HAL_TIM_Base_Init(&htim14) != HAL_OK)
  {
    Error_Handler();
  }
  if (HAL_TIM_PWM_Init(&htim14) != HAL_OK)
  {
    Error_Handler();
  }
  sConfigOC.OCMode = TIM_OCMODE_PWM1;
  sConfigOC.Pulse = 0;
  sConfigOC.OCPolarity = TIM_OCPOLARITY_HIGH;
  sConfigOC.OCFastMode = TIM_OCFAST_DISABLE;
  if (HAL_TIM_PWM_ConfigChannel(&htim14, &sConfigOC, TIM_CHANNEL_1) != HAL_OK)
  {
    Error_Handler();
  }
  HAL_TIM_MspPostInit(&htim14);

}

static void MX_UART4_Init(void)
{

  huart4.Instance = UART4;
  huart4.Init.BaudRate = 115200;
  huart4.Init.WordLength = UART_WORDLENGTH_8B;
  huart4.Init.StopBits = UART_STOPBITS_1;
  huart4.Init.Parity = UART_PARITY_NONE;
  huart4.Init.Mode = UART_MODE_TX_RX;
  huart4.Init.HwFlowCtl = UART_HWCONTROL_NONE;
  huart4.Init.OverSampling = UART_OVERSAMPLING_16;
  if (HAL_UART_Init(&huart4) != HAL_OK)
  {
    Error_Handler();
  }

}

static void MX_UART5_Init(void)
{

  huart5.Instance = UART5;
  huart5.Init.BaudRate = 115200;
  huart5.Init.WordLength = UART_WORDLENGTH_8B;
  huart5.Init.StopBits = UART_STOPBITS_1;
  huart5.Init.Parity = UART_PARITY_NONE;
  huart5.Init.Mode = UART_MODE_TX_RX;
  huart5.Init.HwFlowCtl = UART_HWCONTROL_NONE;
  huart5.Init.OverSampling = UART_OVERSAMPLING_16;
  if (HAL_UART_Init(&huart5) != HAL_OK)
  {
    Error_Handler();
  }

}

static void MX_USART1_UART_Init(void)
{

  huart1.Instance = USART1;
  huart1.Init.BaudRate = 115200;
  huart1.Init.WordLength = UART_WORDLENGTH_8B;
  huart1.Init.StopBits = UART_STOPBITS_1;
  huart1.Init.Parity = UART_PARITY_NONE;
  huart1.Init.Mode = UART_MODE_TX_RX;
  huart1.Init.HwFlowCtl = UART_HWCONTROL_NONE;
  huart1.Init.OverSampling = UART_OVERSAMPLING_16;
  if (HAL_UART_Init(&huart1) != HAL_OK)
  {
    Error_Handler();
  }

}

static void MX_USART2_UART_Init(void)
{

  huart2.Instance = USART2;
  huart2.Init.BaudRate = 115200;
  huart2.Init.WordLength = UART_WORDLENGTH_8B;
  huart2.Init.StopBits = UART_STOPBITS_1;
  huart2.Init.Parity = UART_PARITY_NONE;
  huart2.Init.Mode = UART_MODE_TX_RX;
  huart2.Init.HwFlowCtl = UART_HWCONTROL_NONE;
  huart2.Init.OverSampling = UART_OVERSAMPLING_16;
  if (HAL_UART_Init(&huart2) != HAL_OK)
  {
    Error_Handler();
  }

}

static void MX_USART3_UART_Init(void)
{

  huart3.Instance = USART3;
  huart3.Init.BaudRate = 115200;
  huart3.Init.WordLength = UART_WORDLENGTH_8B;
  huart3.Init.StopBits = UART_STOPBITS_1;
  huart3.Init.Parity = UART_PARITY_NONE;
  huart3.Init.Mode = UART_MODE_TX_RX;
  huart3.Init.HwFlowCtl = UART_HWCONTROL_NONE;
  huart3.Init.OverSampling = UART_OVERSAMPLING_16;
  if (HAL_UART_Init(&huart3) != HAL_OK)
  {
    Error_Handler();
  }

}

static void MX_DMA_Init(void)
{

  /* DMA controller clock enable */
  __HAL_RCC_DMA2_CLK_ENABLE();

  /* DMA interrupt init */
  /* DMA2_Stream2_IRQn interrupt configuration */
  HAL_NVIC_SetPriority(DMA2_Stream2_IRQn, 0, 0);
  HAL_NVIC_EnableIRQ(DMA2_Stream2_IRQn);
  /* DMA2_Stream7_IRQn interrupt configuration */
  HAL_NVIC_SetPriority(DMA2_Stream7_IRQn, 0, 0);
  HAL_NVIC_EnableIRQ(DMA2_Stream7_IRQn);

}

static void MX_GPIO_Init(void)
{
  GPIO_InitTypeDef GPIO_InitStruct = {0};

  /* GPIO Ports Clock Enable */
  __HAL_RCC_GPIOE_CLK_ENABLE();
  __HAL_RCC_GPIOH_CLK_ENABLE();
  __HAL_RCC_GPIOA_CLK_ENABLE();
  __HAL_RCC_GPIOB_CLK_ENABLE();
  __HAL_RCC_GPIOD_CLK_ENABLE();
  __HAL_RCC_GPIOC_CLK_ENABLE();

  /*Configure GPIO pin Output Level */
  HAL_GPIO_WritePin(GPIOE, GPIO_PIN_2|GPIO_PIN_4|GPIO_PIN_8|GPIO_PIN_10
                          |GPIO_PIN_13|GPIO_PIN_14|GPIO_PIN_1, GPIO_PIN_RESET);

  /*Configure GPIO pin Output Level */
  HAL_GPIO_WritePin(GPIOD, GPIO_PIN_8|GPIO_PIN_10|GPIO_PIN_11, GPIO_PIN_RESET);

  /*Configure GPIO pins : PE2 PE4 PE8 PE10
                           PE13 PE14 PE1 */
  GPIO_InitStruct.Pin = GPIO_PIN_2|GPIO_PIN_4|GPIO_PIN_8|GPIO_PIN_10
                          |GPIO_PIN_13|GPIO_PIN_14|GPIO_PIN_1;
  GPIO_InitStruct.Mode = GPIO_MODE_OUTPUT_PP;
  GPIO_InitStruct.Pull = GPIO_NOPULL;
  GPIO_InitStruct.Speed = GPIO_SPEED_FREQ_LOW;
  HAL_GPIO_Init(GPIOE, &GPIO_InitStruct);

  /*Configure GPIO pins : PD8 PD10 PD11 */
  GPIO_InitStruct.Pin = GPIO_PIN_8|GPIO_PIN_10|GPIO_PIN_11;
  GPIO_InitStruct.Mode = GPIO_MODE_OUTPUT_PP;
  GPIO_InitStruct.Pull = GPIO_NOPULL;
  GPIO_InitStruct.Speed = GPIO_SPEED_FREQ_LOW;
  HAL_GPIO_Init(GPIOD, &GPIO_InitStruct);

  /*Configure GPIO pins : PD0 PD1 PD3 PD4
                           PD7 */
  GPIO_InitStruct.Pin = GPIO_PIN_0|GPIO_PIN_1|GPIO_PIN_3|GPIO_PIN_4
                          |GPIO_PIN_7;
  GPIO_InitStruct.Mode = GPIO_MODE_INPUT;
  GPIO_InitStruct.Pull = GPIO_PULLUP;
  HAL_GPIO_Init(GPIOD, &GPIO_InitStruct);

}

void Error_Handler(void)
{
  __disable_irq();
  while (1)
  {
  }
}
